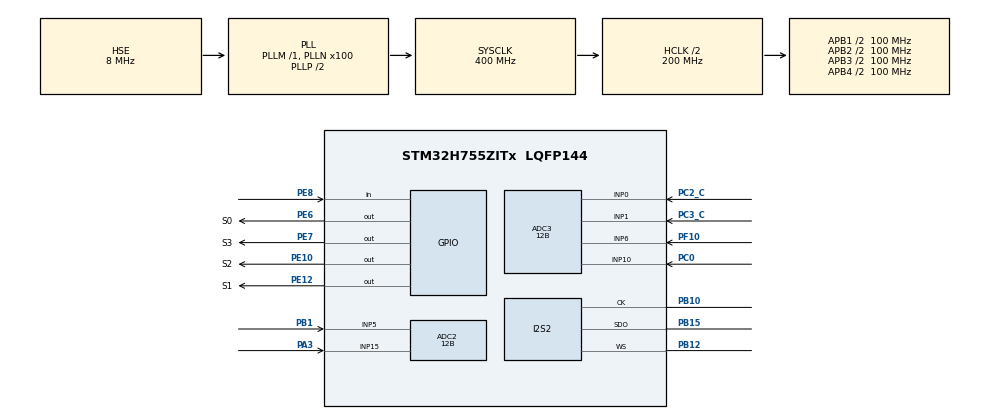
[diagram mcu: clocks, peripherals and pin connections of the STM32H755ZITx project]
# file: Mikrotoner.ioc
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ADC2.Channel-2\#ChannelRegularConversion=ADC_CHANNEL_5
ADC2.Channel-3\#ChannelRegularConversion=ADC_CHANNEL_15
ADC2.ConversionDataManagement=ADC_CONVERSIONDATA_DMA_CIRCULAR
ADC2.ExternalTrigConv=ADC_EXTERNALTRIG_T2_TRGO
ADC2.NbrOfConversion=2
ADC2.NbrOfConversionFlag=1
ADC2.OffsetNumber-2\#ChannelRegularConversion=ADC_OFFSET_NONE
ADC2.OffsetNumber-3\#ChannelRegularConversion=ADC_OFFSET_NONE
ADC2.OffsetSignedSaturation-2\#ChannelRegularConversion=DISABLE
ADC2.OffsetSignedSaturation-3\#ChannelRegularConversion=DISABLE
ADC2.OversamplingMode=ENABLE
ADC2.Rank-2\#ChannelRegularConversion=1
ADC2.Rank-3\#ChannelRegularConversion=2
ADC2.Ratio=256
ADC2.Resolution=ADC_RESOLUTION_12B
ADC2.RightBitShift=ADC_RIGHTBITSHIFT_8
ADC2.SamplingTime-2\#ChannelRegularConversion=ADC_SAMPLETIME_64CYCLES_5
ADC2.SamplingTime-3\#ChannelRegularConversion=ADC_SAMPLETIME_64CYCLES_5
ADC3.Channel-0\#ChannelRegularConversion=ADC_CHANNEL_6
ADC3.Channel-1\#ChannelRegularConversion=ADC_CHANNEL_0
ADC3.Channel-2\#ChannelRegularConversion=ADC_CHANNEL_1
ADC3.Channel-3\#ChannelRegularConversion=ADC_CHANNEL_10
ADC3.ContinuousConvMode=DISABLE
ADC3.ConversionDataManagement=ADC_CONVERSIONDATA_DMA_CIRCULAR
ADC3.ExternalTrigConv=ADC_EXTERNALTRIG_T2_TRGO
ADC3.NbrOfConversion=4
ADC3.NbrOfConversionFlag=1
ADC3.OffsetNumber-0\#ChannelRegularConversion=ADC_OFFSET_NONE
ADC3.OffsetNumber-1\#ChannelRegularConversion=ADC_OFFSET_NONE
ADC3.OffsetNumber-2\#ChannelRegularConversion=ADC_OFFSET_NONE
ADC3.OffsetNumber-3\#ChannelRegularConversion=ADC_OFFSET_NONE
ADC3.OffsetSignedSaturation-0\#ChannelRegularConversion=DISABLE
ADC3.OversamplingMode=ENABLE
ADC3.Rank-0\#ChannelRegularConversion=1
ADC3.Rank-1\#ChannelRegularConversion=2
ADC3.Rank-2\#ChannelRegularConversion=3
ADC3.Rank-3\#ChannelRegularConversion=4
ADC3.Ratio=128
ADC3.Resolution=ADC_RESOLUTION_12B
ADC3.RightBitShift=ADC_RIGHTBITSHIFT_7
ADC3.SamplingTime-0\#ChannelRegularConversion=ADC_SAMPLETIME_64CYCLES_5
ADC3.SamplingTime-1\#ChannelRegularConversion=ADC_SAMPLETIME_64CYCLES_5
ADC3.SamplingTime-2\#ChannelRegularConversion=ADC_SAMPLETIME_64CYCLES_5
ADC3.SamplingTime-3\#ChannelRegularConversion=ADC_SAMPLETIME_64CYCLES_5
Bdma.ADC3.0.Direction=DMA_PERIPH_TO_MEMORY
Bdma.ADC3.0.EventEnable=DISABLE
Bdma.ADC3.0.Instance=BDMA_Channel0
Bdma.ADC3.0.MemDataAlignment=DMA_MDATAALIGN_HALFWORD
Bdma.ADC3.0.MemInc=DMA_MINC_ENABLE
Bdma.ADC3.0.Mode=DMA_CIRCULAR
Bdma.ADC3.0.PeriphDataAlignment=DMA_PDATAALIGN_HALFWORD
Bdma.ADC3.0.PeriphInc=DMA_PINC_DISABLE
Bdma.ADC3.0.Polarity=HAL_DMAMUX_REQ_GEN_RISING
Bdma.ADC3.0.Priority=DMA_PRIORITY_LOW
Bdma.ADC3.0.RequestNumber=1
Bdma.ADC3.0.SignalID=NONE
Bdma.ADC3.0.SyncEnable=DISABLE
Bdma.ADC3.0.SyncPolarity=HAL_DMAMUX_SYNC_NO_EVENT
Bdma.ADC3.0.SyncRequestNumber=1
Bdma.ADC3.0.SyncSignalID=NONE
Bdma.Request0=ADC3
Bdma.RequestsNb=1
CORTEX_M7.CPU_DCache=Disabled
CORTEX_M7.CPU_ICache=Enabled
CORTEX_M7.default_mode_Activation=1
CortexM4.IPs=BDMA,CORTEX_M4\:I,DMA,FATFS_M4\:I,FREERTOS_M4\:I,GPIO,IWDG2\:I,MDMA,NVIC2\:I,OPENAMP_M4\:I,PDM2PCM_M4\:I,PWR,RCC,RESMGR_UTILITY,SYS_M4\:I,USB_DEVICE_M4\:I,USB_HOST_M4\:I,VREFBUF,WWDG2\:I
CortexM7.IPs=BDMA\:I,CORTEX_M7\:I,DMA\:I,FATFS_M7\:I,FREERTOS_M7\:I,GPIO\:I,IWDG1\:I,MDMA\:I,NVIC1\:I,OPENAMP_M7\:I,PDM2PCM_M7\:I,PWR\:I,RCC\:I,RESMGR_UTILITY\:I,SYS\:I,USB_DEVICE_M7\:I,USB_HOST_M7\:I,VREFBUF\:I,WWDG1\:I,MEMORYMAP\:I,I2S2\:I,TIM2\:I,ADC2\:I,ADC3\:I
CortexM7.Pins=PE6,PA5,PA7,PE7,PE8,PE10,PE12,PE15,PC7,PA9,PB6
Dma.ADC2.1.Direction=DMA_PERIPH_TO_MEMORY
Dma.ADC2.1.EventEnable=DISABLE
Dma.ADC2.1.FIFOMode=DMA_FIFOMODE_DISABLE
Dma.ADC2.1.Instance=DMA1_Stream2
Dma.ADC2.1.MemDataAlignment=DMA_MDATAALIGN_HALFWORD
Dma.ADC2.1.MemInc=DMA_MINC_ENABLE
Dma.ADC2.1.Mode=DMA_CIRCULAR
Dma.ADC2.1.PeriphDataAlignment=DMA_PDATAALIGN_HALFWORD
Dma.ADC2.1.PeriphInc=DMA_PINC_DISABLE
Dma.ADC2.1.Polarity=HAL_DMAMUX_REQ_GEN_RISING
Dma.ADC2.1.Priority=DMA_PRIORITY_LOW
Dma.ADC2.1.RequestNumber=1
Dma.ADC2.1.SignalID=NONE
Dma.ADC2.1.SyncEnable=DISABLE
Dma.ADC2.1.SyncPolarity=HAL_DMAMUX_SYNC_NO_EVENT
Dma.ADC2.1.SyncRequestNumber=1
Dma.ADC2.1.SyncSignalID=NONE
Dma.Request0=SPI2_TX
Dma.Request1=ADC2
Dma.SPI2_TX.0.Direction=DMA_MEMORY_TO_PERIPH
Dma.SPI2_TX.0.EventEnable=DISABLE
Dma.SPI2_TX.0.FIFOMode=DMA_FIFOMODE_DISABLE
Dma.SPI2_TX.0.Instance=DMA1_Stream0
Dma.SPI2_TX.0.MemDataAlignment=DMA_MDATAALIGN_WORD
Dma.SPI2_TX.0.MemInc=DMA_MINC_ENABLE
Dma.SPI2_TX.0.Mode=DMA_CIRCULAR
Dma.SPI2_TX.0.PeriphDataAlignment=DMA_PDATAALIGN_WORD
Dma.SPI2_TX.0.PeriphInc=DMA_PINC_DISABLE
Dma.SPI2_TX.0.Polarity=HAL_DMAMUX_REQ_GEN_RISING
Dma.SPI2_TX.0.Priority=DMA_PRIORITY_VERY_HIGH
Dma.SPI2_TX.0.RequestNumber=1
Dma.SPI2_TX.0.SignalID=NONE
Dma.SPI2_TX.0.SyncEnable=DISABLE
Dma.SPI2_TX.0.SyncPolarity=HAL_DMAMUX_SYNC_NO_EVENT
Dma.SPI2_TX.0.SyncRequestNumber=1
Dma.SPI2_TX.0.SyncSignalID=NONE
I2S2.AudioFreq=I2S_AUDIOFREQ_48K
I2S2.DataFormat=I2S_DATAFORMAT_32B
I2S2.ErrorAudioFreq=0.0 %
I2S2.Instance=SPI$Index
I2S2.RealAudioFreq=48.0 KHz
Mcu.Family=STM32H7
Mcu.Name=STM32H755ZITx
Mcu.Package=LQFP144
NVIC1.BDMA_Channel0_IRQn=true\:1\:0\:true\:false\:true\:false\:true\:true
NVIC1.DMA1_Stream0_IRQn=true\:0\:0\:false\:false\:true\:false\:true\:true
NVIC1.DMA1_Stream2_IRQn=true\:1\:0\:true\:false\:true\:false\:true\:true
NVIC1.PriorityGroup=NVIC_PRIORITYGROUP_4
NVIC2.PriorityGroup=NVIC_PRIORITYGROUP_4
PA3.PinAttribute=CortexM7
PA3.Signal=ADCx_INP15
PB1.PinAttribute=CortexM7
PB1.Signal=ADCx_INP5
PB10.Mode=Half_Duplex_Master_Tx
PB10.PinAttribute=CortexM7
PB10.Signal=I2S2_CK
PB12.Mode=Half_Duplex_Master_Tx
PB12.PinAttribute=CortexM7
PB12.Signal=I2S2_WS
PB15.Mode=Half_Duplex_Master_Tx
PB15.PinAttribute=CortexM7
PB15.Signal=I2S2_SDO
PC0.PinAttribute=CortexM7
PC0.Signal=ADCx_INP10
PC2_C.Mode=IN0-Single-Ended
PC2_C.PinAttribute=CortexM7
PC2_C.Signal=ADC3_INP0
PC3_C.Mode=IN1-Single-Ended
PC3_C.PinAttribute=CortexM7
PC3_C.Signal=ADC3_INP1
PE10.GPIO_Label=S2
PE10.GPIO_PuPd=GPIO_PULLUP
PE10.PinAttribute=CortexM7
PE10.Signal=GPIO_Output
PE12.GPIO_Label=S1
PE12.GPIO_PuPd=GPIO_PULLUP
PE12.PinAttribute=CortexM7
PE12.Signal=GPIO_Output
PE6.GPIO_Label=S0
PE6.GPIO_PuPd=GPIO_PULLUP
PE6.PinAttribute=CortexM7
PE6.Signal=GPIO_Output
PE7.GPIO_Label=S3
PE7.GPIO_PuPd=GPIO_PULLUP
PE7.PinAttribute=CortexM7
PE7.Signal=GPIO_Output
PE8.GPIO_PuPd=GPIO_PULLUP
PE8.PinAttribute=CortexM7
PE8.Signal=GPIO_Input
PF10.Mode=IN6-Single-Ended
PF10.PinAttribute=CortexM7
PF10.Signal=ADC3_INP6
PH0-OSC_IN\ (PH0).Mode=HSE-External-Clock-Source
PH0-OSC_IN\ (PH0).PinAttribute=Free
PH0-OSC_IN\ (PH0).Signal=RCC_OSC_IN
ProjectManager.HeapSize=M4-0x200,M7-0x200
ProjectManager.StackSize=M4-0x400,M7-0x400
ProjectManager.TargetToolchain=STM32CubeIDE
RCC.ADCFreq_Value=50000000
RCC.APB1Freq_Value=100000000
RCC.APB2Freq_Value=100000000
RCC.APB3Freq_Value=100000000
RCC.APB4Freq_Value=100000000
RCC.CortexFreq_Value=400000000
RCC.D1PPRE=RCC_APB3_DIV2
RCC.D2PPRE1=RCC_APB1_DIV2
RCC.D2PPRE2=RCC_APB2_DIV2
RCC.D3PPRE=RCC_APB4_DIV2
RCC.DIVM1=1
RCC.DIVM2=2
RCC.DIVM3=2
RCC.DIVN1=100
RCC.DIVN2=50
RCC.DIVN3=49
RCC.DIVP2=4
RCC.DIVP3=4
RCC.DIVQ1=16
RCC.HCLKFreq_Value=200000000
RCC.HPRE=RCC_HCLK_DIV2
RCC.HSE_VALUE=8000000
RCC.PLL2FRACN=0
RCC.PLL3FRACN=1246
RCC.PLLFRACN=0
RCC.PLLSourceVirtual=RCC_PLLSOURCE_HSE
RCC.PWR_Regulator_Voltage_Scale=PWR_REGULATOR_VOLTAGE_SCALE1
RCC.SPI123CLockSelection=RCC_SPI123CLKSOURCE_PLL3
RCC.SYSCLKFreq_VALUE=400000000
RCC.SYSCLKSource=RCC_SYSCLKSOURCE_PLLCLK
RCC.USBFreq_Value=50000000
SH.ADCx_INP10.0=ADC3_INP10,IN10-Single-Ended
SH.ADCx_INP15.0=ADC2_INP15,IN15-Single-Ended
SH.ADCx_INP5.0=ADC2_INP5,IN5-Single-Ended
SYS.userName=SYS_M7
TIM2.AutoReloadPreload=TIM_AUTORELOAD_PRELOAD_ENABLE
TIM2.Period=99
TIM2.Prescaler=1999
TIM2.TIM_MasterOutputTrigger=TIM_TRGO_UPDATE
TIM2.TIM_MasterSlaveMode=TIM_MASTERSLAVEMODE_DISABLE
VP_MEMORYMAP_VS_MEMORYMAP.Mode=CurAppReg
VP_SYS_M4_VS_Systick.Mode=SysTick
VP_TIM2_VS_ClockSourceINT.Mode=Internal
board=custom

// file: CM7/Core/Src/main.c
/* USER CODE BEGIN Header */
/**
  ******************************************************************************
  * @file           : main.c
  * @brief          : Main program body
  ******************************************************************************
  * @attention
  *
  * Copyright (c) 2025 STMicroelectronics.
  * All rights reserved.
  *
  * This software is licensed under terms that can be found in the LICENSE file
  * in the root directory of this software component.
  * If no LICENSE file comes with this software, it is provided AS-IS.
  *
  ******************************************************************************
  */
/* USER CODE END Header */
#include "main.h"

/* USER CODE BEGIN Includes */
#include <stdlib.h>
#include "dsp_adsr.h"
#include "dsp_config.h"
#include "dsp_enum.h"
#include "dsp_filter.h"
#include "dsp_lfo.h"
#include "dsp_noise.h"
#include "dsp_osc.h"
#include "dsp_utils.h"
/* USER CODE END Includes */

/* USER CODE BEGIN PD */

/* DUAL_CORE_BOOT_SYNC_SEQUENCE: Define for dual core boot synchronization    */
/*                             demonstration code based on hardware semaphore */
/* This define is present in both CM7/CM4 projects                            */
/* To comment when developping/debugging on a single core                     */
#define DUAL_CORE_BOOT_SYNC_SEQUENCE

#if defined(DUAL_CORE_BOOT_SYNC_SEQUENCE)
#ifndef HSEM_ID_0
#define HSEM_ID_0 (0U) /* HW semaphore 0*/
#endif
#endif /* DUAL_CORE_BOOT_SYNC_SEQUENCE */

/* USER CODE END PD */

ADC_HandleTypeDef hadc2;
ADC_HandleTypeDef hadc3;
DMA_HandleTypeDef hdma_adc2;
DMA_HandleTypeDef hdma_adc3;

I2S_HandleTypeDef hi2s2;
DMA_HandleTypeDef hdma_spi2_tx;

TIM_HandleTypeDef htim2;

/* USER CODE BEGIN PV */
float osc_buf[BUF_SIZE];
float noise_buf[BUF_SIZE];
float f1_buf[BUF_SIZE];

int32_t i2s_buf[BUF_SIZE];

filter_par_t filter_par;
filter_state_t filter_state;

osc_par_t osc_par;
osc_state_t osc_state;

lfo_par_t lfo_par;
lfo_state_t lfo_state;

adsr_par_t adsr_par;
adsr_state_t adsr_state;

noise_par_t noise_par;
noise_state_t noise_state;

float master_vol = 0.0f;
float threshold = 0.95f;
float gain = 0.8f;

__attribute__ ((section (".ADC3buf"), used)) volatile uint16_t adc3_vals[4];
volatile uint16_t adc2_vals[2] = {0};
uint16_t adc_vals[37] = {0};
uint16_t mux_adc_vals[15];
uint8_t mux_sel[4] = {0};
uint8_t mux_inc = 0;
uint8_t switch_vals[16] = {0};

uint8_t sel_osc = 0;
uint8_t sel_lfo = 0;
uint8_t sel_page = 0;
uint8_t sel_pan = 0;
uint8_t last_sel_osc = 0;
uint8_t last_sel_page = 0;
uint8_t last_sel_lfo = 0;
uint8_t last_sel_pan = 0;
uint8_t set_curr_adc_vals_osc[SHARED_PAR_NUM_OSC] = {1};
uint8_t set_curr_adc_vals_lfo[SHARED_PAR_NUM_LFO] = {1};
uint8_t set_curr_adc_vals_page[6] = {1};
uint8_t set_curr_adc_vals_pan[2] = {1};

lp_filter_par_t adc_f_par[37];

uint8_t semitone_mode = 0;
float portamento_time_s = 0.5f;
volatile uint8_t adc2_flag = 0;
volatile uint8_t adc3_flag = 0;

volatile uint8_t i2s_process_half_buf = 0;
volatile uint16_t i2s_underrun = 0;

/* USER CODE END PV */

void SystemClock_Config(void);
void PeriphCommonClock_Config(void);
static void MPU_Config(void);
static void MX_GPIO_Init(void);
static void MX_DMA_Init(void);
static void MX_BDMA_Init(void);
static void MX_I2S2_Init(void);
static void MX_ADC2_Init(void);
static void MX_ADC3_Init(void);
static void MX_TIM2_Init(void);

/* USER CODE BEGIN 0 */

void update_parameters(){
	float adc_f_vals[37];
	for(int i = 0; i < 37; i++){
		adc_f_par[i].x = adc_vals[i];
		apply_lp_filter(&adc_f_par[i]);
		adc_f_vals[i] = adc_f_par[i].y;
	}
	osc_par.lerp_val_osc1 = adc_f_vals[0]/4095.0f *3.0f;
	osc_par.shape_osc1 = adc_f_vals[1]/4095.0f *3.0f + 1.0f;
	float normalized = adc_f_vals[2]/4095.0f *24.0f;
	float rounded = roundf(normalized);
	if(fabsf(normalized - rounded) < 0.2f){
		osc_par.coarse_osc1 = rounded;
	}
	osc_par.fine_osc1 = adc_f_vals[3]/4095.0f *2.0f - 1.0f;
	osc_par.lfo_depth_pitch_osc1 = adc_f_vals[4]/4095.0f *12.0f;
	osc_par.lfo_lerp_depth_osc1 = adc_f_vals[5]/4095.0f *3.0f;

	osc_par.lerp_val_osc2 = adc_f_vals[6]/4095.0f *3.0f;
	osc_par.shape_osc2 = adc_f_vals[7]/4095.0f *3.0f + 1.0f;
	normalized =adc_f_vals[8]/4095.0f *24.0f;
	rounded = roundf(normalized);
	if(fabsf(normalized - rounded) < 0.2f){
		osc_par.coarse_osc2 = rounded;
	}
	osc_par.fine_osc2 = adc_f_vals[9]/4095.0f *2.0f - 1.0f;
	osc_par.lfo_depth_pitch_osc2 = adc_f_vals[10]/4095.0f *12.0f;
	osc_par.lfo_lerp_depth_osc2 = adc_f_vals[11]/4095.0f *3.0f;

	lfo_par.lerp_val_lfo1 = adc_f_vals[12]/4095.0f *4.0f;
	lfo_par.freq_lfo1 = adc_f_vals[13]/4095.0f *19.0f + 1.0f;

	lfo_par.lerp_val_lfo2 = adc_f_vals[14]/4095.0f *4.0f;
	lfo_par.freq_lfo2 = adc_f_vals[15]/4095.0f *19.0f + 1.0f;

	osc_par.mod_depth = adc_f_vals[16]/4095.0f;

	portamento_time_s = adc_f_vals[17]/4095.0f * 0.9f + 0.1f;
	noise_par.vol = (adc_f_vals[22] - 20)/4075.0f;
	normalized = adc_f_vals[21] / 4095.0f;
	filter_par.f_0 = 20.0f * powf(1000.0f, normalized);
	filter_par.q = adc_f_vals[20]/4095.0f *49.0f + 1.0f;
	filter_par.lerp_val_mode = adc_f_vals[19]/4095.0f *3.5F;
	filter_par.lfo_depth_freq = adc_f_vals[18]/4095.0f;

	noise_par.color = adc_f_vals[23]/4095.0f *2.0f - 1.0f;
	noise_par.width = adc_f_vals[28]/4095.0f;
	adsr_par.a = adc_f_vals[27]/4095.0f * 5.0f;
	adsr_par.d = adc_f_vals[26]/4095.0f * 5.0f;
	adsr_par.s = adc_f_vals[25]/4095.0f;
	adsr_par.r = adc_f_vals[24]/4095.0f * 5.0f;

	lfo_par.mod_depth = adc_f_vals[29]/4095.0f;

	master_vol = (adc_f_vals[34] - 20)/4075.0f;
	osc_par.pan_osc1 = (adc_f_vals[33] - 20)/4075.0f;
	osc_par.pan_osc2 = (adc_f_vals[32] - 20)/4075.0f;

	osc_par.vol_osc1 = (adc_f_vals[31] - 20)/4075.0f;
	osc_par.vol_osc2 = (adc_f_vals[30] - 20)/4075.0f;

	//adsr_par.key_pressure = (adc_f_vals[36] - 300.0f)/3590.0f;
	if(adsr_par.key_pressure >= 0.0f){
		adsr_par.key_pressed = 1;
	}
	else{
		adsr_par.key_pressed = 0;
	}
	static uint8_t last_key_pressed = 0;
	static float init_diff = 0.0f;
	static float target_note = 0.0f;

	if(adsr_par.key_pressed){
	    if(semitone_mode){
	        normalized = adc_f_vals[35] / 4095.0f * 24.0f;
	        rounded = roundf(normalized);
	        if(last_key_pressed){
	            if(rounded != target_note) {
	                init_diff = rounded - osc_par.note;
	                target_note = rounded;
	            }
	            float diff = target_note - osc_par.note;
	            if(fabsf(diff) > 0.001f){
	                if(portamento_time_s < 0.01f) portamento_time_s = 0.01f;
	                float portamento_step = (init_diff * (BUF_SIZE / 4.0f)) / (SAMPLE_RATE_SYNTH * portamento_time_s);
	                if(fabsf(diff) < fabsf(portamento_step)){
	                    osc_par.note = target_note;
	                }
	                else{
	                	osc_par.note += portamento_step;
	                }
	            }
	        }
	        else{
	            //osc_par.note = rounded; commented out for testing without the membrane pot
	            target_note = rounded;
	            init_diff = 0.0f;
	        }
	    }
	    else{
	        //osc_par.note = adc_f_vals[35] / 4095.0f * 24.0f; commented out for testing without the membrane pot
	    }
	    last_key_pressed = 1;
	}
	else{
	    last_key_pressed = 0;
	}
}

void HAL_ADC_ConvCpltCallback(ADC_HandleTypeDef* hadc){
	if(hadc->Instance == ADC3){
		adc3_flag = TRUE;
	}
	if(hadc->Instance == ADC2){
		adc2_flag = TRUE;
	}

}

void HAL_I2S_TxHalfCpltCallback(I2S_HandleTypeDef *hi2s) {
	if(i2s_process_half_buf != 0){
		i2s_underrun++;
	}
	i2s_process_half_buf = 1;
}
void HAL_I2S_TxCpltCallback(I2S_HandleTypeDef *hi2s) {
	if(i2s_process_half_buf != 0){
		i2s_underrun++;
	}
	i2s_process_half_buf = 2;
}
/* USER CODE END 0 */

int main(void)
{

/* USER CODE BEGIN Boot_Mode_Sequence_0 */
#if defined(DUAL_CORE_BOOT_SYNC_SEQUENCE)
  int32_t timeout;
#endif /* DUAL_CORE_BOOT_SYNC_SEQUENCE */
/* USER CODE END Boot_Mode_Sequence_0 */

  /* MPU Configuration--------------------------------------------------------*/
  MPU_Config();

  /* Enable the CPU Cache */

  /* Enable I-Cache---------------------------------------------------------*/
  SCB_EnableICache();

/* USER CODE BEGIN Boot_Mode_Sequence_1 */
#if defined(DUAL_CORE_BOOT_SYNC_SEQUENCE)
  /* Wait until CPU2 boots and enters in stop mode or timeout*/
  timeout = 0xFFFF;
  while((__HAL_RCC_GET_FLAG(RCC_FLAG_D2CKRDY) != RESET) && (timeout-- > 0));
  if ( timeout < 0 )
  {
  Error_Handler();
  }
#endif /* DUAL_CORE_BOOT_SYNC_SEQUENCE */
/* USER CODE END Boot_Mode_Sequence_1 */
  /* MCU Configuration--------------------------------------------------------*/

  /* Reset of all peripherals, Initializes the Flash interface and the Systick. */
  HAL_Init();

  /* Configure the system clock */
  SystemClock_Config();

  /* Configure the peripherals common clocks */
  PeriphCommonClock_Config();
/* USER CODE BEGIN Boot_Mode_Sequence_2 */
#if defined(DUAL_CORE_BOOT_SYNC_SEQUENCE)
/* When system initialization is finished, Cortex-M7 will release Cortex-M4 by means of
HSEM notification */
/*HW semaphore Clock enable*/
__HAL_RCC_HSEM_CLK_ENABLE();
/*Take HSEM */
HAL_HSEM_FastTake(HSEM_ID_0);
/*Release HSEM in order to notify the CPU2(CM4)*/
HAL_HSEM_Release(HSEM_ID_0,0);
/* wait until CPU2 wakes up from stop mode */
timeout = 0xFFFF;
while((__HAL_RCC_GET_FLAG(RCC_FLAG_D2CKRDY) == RESET) && (timeout-- > 0));
if ( timeout < 0 )
{
Error_Handler();
}
#endif /* DUAL_CORE_BOOT_SYNC_SEQUENCE */
/* USER CODE END Boot_Mode_Sequence_2 */

  /* Initialize all configured peripherals */
  MX_GPIO_Init();
  MX_DMA_Init();
  MX_BDMA_Init();
  MX_I2S2_Init();
  MX_ADC2_Init();
  MX_ADC3_Init();
  MX_TIM2_Init();
  /* USER CODE BEGIN 2 */
  if (HAL_ADCEx_Calibration_Start(&hadc2, ADC_CALIB_OFFSET_LINEARITY, ADC_SINGLE_ENDED) != HAL_OK) {
      Error_Handler();
  }

  if (HAL_ADCEx_Calibration_Start(&hadc3, ADC_CALIB_OFFSET_LINEARITY, ADC_SINGLE_ENDED) != HAL_OK) {
      Error_Handler();
  }
  fill_wave_block((float*)i2s_buf, BUF_SIZE, &osc_par, &osc_state);
  HAL_I2S_Transmit_DMA(&hi2s2, (uint16_t*)i2s_buf, BUF_SIZE);
  i2s_process_half_buf = 0;
  osc_par.val_lfo1 = &lfo_par.val_lfo1;
  osc_par.val_lfo2 = &lfo_par.val_lfo2;
  filter_par.val_lfo1 = &lfo_par.val_lfo1;
  filter_par.val_lfo2 = &lfo_par.val_lfo2;

  for(int i = 0; i < 36; i++){
	  init_lp_filter_pars(&adc_f_par[i], 500.0f);
  }
  init_lp_filter_pars(&adc_f_par[30], 100.0f);
  init_lp_filter_pars(&adc_f_par[31], 100.0f);
  init_lp_filter_pars(&adc_f_par[34], 100.0f);
  init_lp_filter_pars(&adc_f_par[36], 100.0f);
  init_lp_filter_pars(&adsr_state.value_lp, 200.0f);

  init_adsr_state(&adsr_state);
  init_filter_state(&filter_state);
  set_filter_range(&filter_par, 20000.0f);
  init_lfo_state(&lfo_state);
  init_noise_state(&noise_state);
  init_osc_state(&osc_state);

  HAL_ADC_Start_DMA(&hadc3, (uint32_t*)&adc3_vals, 4);
  HAL_ADC_Start_DMA(&hadc2, (uint32_t*)&adc2_vals, 2);
  mux_inc = 0;
  mux_sel[0] = 0;
  mux_sel[1] = 0;
  mux_sel[2] = 0;
  mux_sel[3] = 0;
  HAL_GPIO_WritePin(GPIOE, GPIO_PIN_6, mux_sel[0]);
  HAL_GPIO_WritePin(GPIOE, GPIO_PIN_12, mux_sel[1]);
  HAL_GPIO_WritePin(GPIOE, GPIO_PIN_10, mux_sel[2]);
  HAL_GPIO_WritePin(GPIOE, GPIO_PIN_7, mux_sel[3]);
  HAL_TIM_Base_Start(&htim2);

  /* USER CODE END 2 */

  /* Infinite loop */
  /* USER CODE BEGIN WHILE */
  while (1)
  {
	switch(i2s_process_half_buf) {
		case 1:
			update_parameters();
			full_lfo_block(&lfo_par, &lfo_state, BUF_SIZE/2);
			adsr_enveloper(&adsr_par, &adsr_state);
			fill_wave_block(osc_buf, BUF_SIZE/2, &osc_par, &osc_state);
			fill_noise_block(osc_buf, noise_buf, BUF_SIZE/2, noise_par, &noise_state);
			state_variable_filter(noise_buf, f1_buf, BUF_SIZE/2, &filter_par, &filter_state);
			for (int i = 0; i < BUF_SIZE/2; i++) {
				float value = 0.0f;
				if(filter_par.enb){
					value = f1_buf[i];
				}
				else{
					value = noise_buf[i];
				}
				//value = value * master_vol * adsr_state.amplitude; commented out for testing without the pressure sensor
				value = value * master_vol;
				value = soft_clip(value, threshold, gain);
				value *= 2147483648.0f;
				if (value > 2147483647.0f) value = 2147483647.0f;
				if (value < -2147483648.0f) value = -2147483648.0f;
				i2s_buf[i] = (int32_t)value;
			}
			i2s_process_half_buf = 0;
			break;
		case 2:
			update_parameters();
			full_lfo_block(&lfo_par, &lfo_state, BUF_SIZE/2);
			adsr_enveloper(&adsr_par, &adsr_state);
			fill_wave_block(osc_buf + BUF_SIZE/2, BUF_SIZE/2, &osc_par, &osc_state);
			fill_noise_block(osc_buf + BUF_SIZE/2, noise_buf + BUF_SIZE/2, BUF_SIZE/2, noise_par, &noise_state);
			state_variable_filter(noise_buf + BUF_SIZE/2, f1_buf + BUF_SIZE/2, BUF_SIZE/2, &filter_par, &filter_state);
			for (int i = BUF_SIZE/2; i < BUF_SIZE; i++) {
				float value = 0.0f;
				if(filter_par.enb){
					value = f1_buf[i];
				}
				else{
					value = noise_buf[i];
				}
				//value = value * master_vol * adsr_state.amplitude; commented out for testing without the pressure sensor
				value = value * master_vol;
				value = soft_clip(value, threshold, gain);
				value *= 2147483648.0f;
				if (value > 2147483647.0f) value = 2147483647.0f;
				if (value < -2147483648.0f) value = -2147483648.0f;
				i2s_buf[i] = (int32_t)value;
			}
			i2s_process_half_buf = 0;
			break;
		default:
			if(adc3_flag == TRUE){
				adc_vals[34] = adc3_vals[1];
				static int first_iter1 = 1;
				static int first_iter2 = 1;
				mux_adc_vals[mux_inc] = adc3_vals[0];
				switch_vals[mux_inc] = HAL_GPIO_ReadPin(GPIOE, GPIO_PIN_8);
				if(mux_inc < 15){
					mux_inc++;
				}
				else{
					sel_osc                    = switch_vals[0];
					osc_par.phase_sync         = switch_vals[1];
					osc_par.modul_enb          = switch_vals[2];
					osc_par.modul_mod          = switch_vals[3];
					osc_par.pitch_lfo_sel_osc1 = switch_vals[4];
					osc_par.lerp_lfo_sel_osc1  = switch_vals[5];
					osc_par.pitch_lfo_sel_osc2 = switch_vals[6];
					osc_par.lerp_lfo_sel_osc2  = switch_vals[7];
					filter_par.enb             = switch_vals[8];
					filter_par.freq_lfo_sel    = switch_vals[9];
					sel_lfo                    = switch_vals[10];
					lfo_par.lfo2_slave_mode    = switch_vals[11];
					lfo_par.modul_mode         = switch_vals[12];
					sel_page	               = switch_vals[13];
					semitone_mode              = switch_vals[14];
					adsr_state.mode            = switch_vals[15];
					if(first_iter2){
						last_sel_osc = sel_osc;
						last_sel_lfo = sel_lfo;
						last_sel_page = sel_page;
						for(int i = 0; i < 6; i++){
							set_curr_adc_vals_osc[i] = 1;
						}
						for(int i = 0; i < 2; i++){
							set_curr_adc_vals_lfo[i] = 1;
						}
						for(int i = 0; i < 5; i++){
							set_curr_adc_vals_page[i] = 1;
						}
						first_iter2 = 0;
					}
					if(last_sel_osc != sel_osc){
						for(int i = 0; i < 6; i++){
							set_curr_adc_vals_osc[i] = 0;
						}
					}
					for(int i = 0; i < 6; i++){
						if(abs((int)adc_vals[i+sel_osc*6] - (int)mux_adc_vals[i]) <= SOFT_TAKEOVER_THRESHOLD || set_curr_adc_vals_osc[i]){
							adc_vals[i+sel_osc*6] = mux_adc_vals[i];
							set_curr_adc_vals_osc[i] = 1;
						}
					}
					last_sel_osc = sel_osc;

					if(last_sel_lfo != sel_lfo){
						for(int i = 0; i < 2; i++){
							set_curr_adc_vals_lfo[i] = 0;
						}
					}
					for(int i = 0; i < 2; i++){
						if(abs((int)adc_vals[i+sel_lfo*2+12] - (int)mux_adc_vals[i+6]) <= SOFT_TAKEOVER_THRESHOLD || set_curr_adc_vals_lfo[i]){
							adc_vals[i+sel_lfo*2+12] = mux_adc_vals[i+6];
							set_curr_adc_vals_lfo[i] = 1;
						}
					}
					last_sel_lfo = sel_lfo;

					adc_vals[16] = mux_adc_vals[8];

					if(last_sel_page != sel_page){
						for(int i = 0; i < 6; i++){
							set_curr_adc_vals_page[i] = 0;
						}
					}
					for(int i = 0; i < 6; i++){
						if(abs((int)adc_vals[i+sel_page*6+17] - (int)mux_adc_vals[i+9]) <= SOFT_TAKEOVER_THRESHOLD || set_curr_adc_vals_page[i]){
							adc_vals[i+sel_page*6+17] = mux_adc_vals[i+9];
							set_curr_adc_vals_page[i] = 1;
						}
					}
					last_sel_page = sel_page;
					mux_inc = 0;

					adc_vals[29] = mux_adc_vals[15];
				}
				if(first_iter1){
					last_sel_pan = sel_page;
					set_curr_adc_vals_pan[0] = 1;
					set_curr_adc_vals_pan[1] = 1;
					first_iter1 = 0;
				}
				if(last_sel_pan != sel_page){
					set_curr_adc_vals_pan[0] = 0;
					set_curr_adc_vals_pan[1] = 0;
				}
				for(int i = 0; i < 2; i++){
					if(abs((int)adc_vals[i+sel_page*2+30] - (int)adc3_vals[i+2]) <= SOFT_TAKEOVER_THRESHOLD || set_curr_adc_vals_pan[i]){
						adc_vals[i+sel_page*2+30] = adc3_vals[i+2];
						set_curr_adc_vals_pan[i] = 1;
					}
				}
				last_sel_pan = sel_page;
				mux_sel[0] = mux_inc & 1;
				mux_sel[1] = (mux_inc>>1) & 1;
				mux_sel[2] = (mux_inc>>2) & 1;
				mux_sel[3] = (mux_inc>>3) & 1;
				HAL_GPIO_WritePin(GPIOE, GPIO_PIN_6, mux_sel[0]);
				HAL_GPIO_WritePin(GPIOE, GPIO_PIN_12, mux_sel[1]);
				HAL_GPIO_WritePin(GPIOE, GPIO_PIN_10, mux_sel[2]);
				HAL_GPIO_WritePin(GPIOE, GPIO_PIN_7, mux_sel[3]);
				adc3_flag = FALSE;
			}
			if(adc2_flag == TRUE){
				adc_vals[36] = adc2_vals[1];
				if(adc_vals[36] > 300)
					adc_vals[35] = adc2_vals[0];
				adc2_flag = FALSE;
			}
			break;
	}

    /* USER CODE END WHILE */

  }
}

void SystemClock_Config(void)
{
  RCC_OscInitTypeDef RCC_OscInitStruct = {0};
  RCC_ClkInitTypeDef RCC_ClkInitStruct = {0};

  /** Supply configuration update enable
  */
  HAL_PWREx_ConfigSupply(PWR_DIRECT_SMPS_SUPPLY);

  /** Configure the main internal regulator output voltage
  */
  __HAL_PWR_VOLTAGESCALING_CONFIG(PWR_REGULATOR_VOLTAGE_SCALE1);

  while(!__HAL_PWR_GET_FLAG(PWR_FLAG_VOSRDY)) {}

  /** Initializes the RCC Oscillators according to the specified parameters
  * in the RCC_OscInitTypeDef structure.
  */
  RCC_OscInitStruct.OscillatorType = RCC_OSCILLATORTYPE_HSE;
  RCC_OscInitStruct.HSEState = RCC_HSE_BYPASS;
  RCC_OscInitStruct.PLL.PLLState = RCC_PLL_ON;
  RCC_OscInitStruct.PLL.PLLSource = RCC_PLLSOURCE_HSE;
  RCC_OscInitStruct.PLL.PLLM = 1;
  RCC_OscInitStruct.PLL.PLLN = 100;
  RCC_OscInitStruct.PLL.PLLP = 2;
  RCC_OscInitStruct.PLL.PLLQ = 16;
  RCC_OscInitStruct.PLL.PLLR = 2;
  RCC_OscInitStruct.PLL.PLLRGE = RCC_PLL1VCIRANGE_3;
  RCC_OscInitStruct.PLL.PLLVCOSEL = RCC_PLL1VCOWIDE;
  RCC_OscInitStruct.PLL.PLLFRACN = 0;
  if (HAL_RCC_OscConfig(&RCC_OscInitStruct) != HAL_OK)
  {
    Error_Handler();
  }

  /** Initializes the CPU, AHB and APB buses clocks
  */
  RCC_ClkInitStruct.ClockType = RCC_CLOCKTYPE_HCLK|RCC_CLOCKTYPE_SYSCLK
                              |RCC_CLOCKTYPE_PCLK1|RCC_CLOCKTYPE_PCLK2
                              |RCC_CLOCKTYPE_D3PCLK1|RCC_CLOCKTYPE_D1PCLK1;
  RCC_ClkInitStruct.SYSCLKSource = RCC_SYSCLKSOURCE_PLLCLK;
  RCC_ClkInitStruct.SYSCLKDivider = RCC_SYSCLK_DIV1;
  RCC_ClkInitStruct.AHBCLKDivider = RCC_HCLK_DIV2;
  RCC_ClkInitStruct.APB3CLKDivider = RCC_APB3_DIV2;
  RCC_ClkInitStruct.APB1CLKDivider = RCC_APB1_DIV2;
  RCC_ClkInitStruct.APB2CLKDivider = RCC_APB2_DIV2;
  RCC_ClkInitStruct.APB4CLKDivider = RCC_APB4_DIV2;

  if (HAL_RCC_ClockConfig(&RCC_ClkInitStruct, FLASH_LATENCY_2) != HAL_OK)
  {
    Error_Handler();
  }
}

void PeriphCommonClock_Config(void)
{
  RCC_PeriphCLKInitTypeDef PeriphClkInitStruct = {0};

  /** Initializes the peripherals clock
  */
  PeriphClkInitStruct.PeriphClockSelection = RCC_PERIPHCLK_ADC;
  PeriphClkInitStruct.PLL2.PLL2M = 2;
  PeriphClkInitStruct.PLL2.PLL2N = 50;
  PeriphClkInitStruct.PLL2.PLL2P = 4;
  PeriphClkInitStruct.PLL2.PLL2Q = 2;
  PeriphClkInitStruct.PLL2.PLL2R = 2;
  PeriphClkInitStruct.PLL2.PLL2RGE = RCC_PLL2VCIRANGE_2;
  PeriphClkInitStruct.PLL2.PLL2VCOSEL = RCC_PLL2VCOWIDE;
  PeriphClkInitStruct.PLL2.PLL2FRACN = 0;
  PeriphClkInitStruct.AdcClockSelection = RCC_ADCCLKSOURCE_PLL2;
  if (HAL_RCCEx_PeriphCLKConfig(&PeriphClkInitStruct) != HAL_OK)
  {
    Error_Handler();
  }
}

static void MX_ADC2_Init(void)
{

  ADC_ChannelConfTypeDef sConfig = {0};

  /** Common config
  */
  hadc2.Instance = ADC2;
  hadc2.Init.ClockPrescaler = ADC_CLOCK_ASYNC_DIV1;
  hadc2.Init.Resolution = ADC_RESOLUTION_12B;
  hadc2.Init.ScanConvMode = ADC_SCAN_ENABLE;
  hadc2.Init.EOCSelection = ADC_EOC_SINGLE_CONV;
  hadc2.Init.LowPowerAutoWait = DISABLE;
  hadc2.Init.ContinuousConvMode = DISABLE;
  hadc2.Init.NbrOfConversion = 2;
  hadc2.Init.DiscontinuousConvMode = DISABLE;
  hadc2.Init.ExternalTrigConv = ADC_EXTERNALTRIG_T2_TRGO;
  hadc2.Init.ExternalTrigConvEdge = ADC_EXTERNALTRIGCONVEDGE_RISING;
  hadc2.Init.ConversionDataManagement = ADC_CONVERSIONDATA_DMA_CIRCULAR;
  hadc2.Init.Overrun = ADC_OVR_DATA_PRESERVED;
  hadc2.Init.LeftBitShift = ADC_LEFTBITSHIFT_NONE;
  hadc2.Init.OversamplingMode = ENABLE;
  hadc2.Init.Oversampling.Ratio = 256;
  hadc2.Init.Oversampling.RightBitShift = ADC_RIGHTBITSHIFT_8;
  hadc2.Init.Oversampling.TriggeredMode = ADC_TRIGGEREDMODE_SINGLE_TRIGGER;
  hadc2.Init.Oversampling.OversamplingStopReset = ADC_REGOVERSAMPLING_CONTINUED_MODE;
  if (HAL_ADC_Init(&hadc2) != HAL_OK)
  {
    Error_Handler();
  }

  /** Configure Regular Channel
  */
  sConfig.Channel = ADC_CHANNEL_5;
  sConfig.Rank = ADC_REGULAR_RANK_1;
  sConfig.SamplingTime = ADC_SAMPLETIME_64CYCLES_5;
  sConfig.SingleDiff = ADC_SINGLE_ENDED;
  sConfig.OffsetNumber = ADC_OFFSET_NONE;
  sConfig.Offset = 0;
  sConfig.OffsetSignedSaturation = DISABLE;
  if (HAL_ADC_ConfigChannel(&hadc2, &sConfig) != HAL_OK)
  {
    Error_Handler();
  }

  /** Configure Regular Channel
  */
  sConfig.Channel = ADC_CHANNEL_15;
  sConfig.Rank = ADC_REGULAR_RANK_2;
  if (HAL_ADC_ConfigChannel(&hadc2, &sConfig) != HAL_OK)
  {
    Error_Handler();
  }

}

static void MX_ADC3_Init(void)
{

  ADC_ChannelConfTypeDef sConfig = {0};

  /** Common config
  */
  hadc3.Instance = ADC3;
  hadc3.Init.ClockPrescaler = ADC_CLOCK_ASYNC_DIV1;
  hadc3.Init.Resolution = ADC_RESOLUTION_12B;
  hadc3.Init.ScanConvMode = ADC_SCAN_ENABLE;
  hadc3.Init.EOCSelection = ADC_EOC_SINGLE_CONV;
  hadc3.Init.LowPowerAutoWait = DISABLE;
  hadc3.Init.ContinuousConvMode = DISABLE;
  hadc3.Init.NbrOfConversion = 4;
  hadc3.Init.DiscontinuousConvMode = DISABLE;
  hadc3.Init.ExternalTrigConv = ADC_EXTERNALTRIG_T2_TRGO;
  hadc3.Init.ExternalTrigConvEdge = ADC_EXTERNALTRIGCONVEDGE_RISING;
  hadc3.Init.ConversionDataManagement = ADC_CONVERSIONDATA_DMA_CIRCULAR;
  hadc3.Init.Overrun = ADC_OVR_DATA_PRESERVED;
  hadc3.Init.LeftBitShift = ADC_LEFTBITSHIFT_NONE;
  hadc3.Init.OversamplingMode = ENABLE;
  hadc3.Init.Oversampling.Ratio = 128;
  hadc3.Init.Oversampling.RightBitShift = ADC_RIGHTBITSHIFT_7;
  hadc3.Init.Oversampling.TriggeredMode = ADC_TRIGGEREDMODE_SINGLE_TRIGGER;
  hadc3.Init.Oversampling.OversamplingStopReset = ADC_REGOVERSAMPLING_CONTINUED_MODE;
  if (HAL_ADC_Init(&hadc3) != HAL_OK)
  {
    Error_Handler();
  }

  /** Configure Regular Channel
  */
  sConfig.Channel = ADC_CHANNEL_6;
  sConfig.Rank = ADC_REGULAR_RANK_1;
  sConfig.SamplingTime = ADC_SAMPLETIME_64CYCLES_5;
  sConfig.SingleDiff = ADC_SINGLE_ENDED;
  sConfig.OffsetNumber = ADC_OFFSET_NONE;
  sConfig.Offset = 0;
  sConfig.OffsetSignedSaturation = DISABLE;
  if (HAL_ADC_ConfigChannel(&hadc3, &sConfig) != HAL_OK)
  {
    Error_Handler();
  }

  /** Configure Regular Channel
  */
  sConfig.Channel = ADC_CHANNEL_0;
  sConfig.Rank = ADC_REGULAR_RANK_2;
  if (HAL_ADC_ConfigChannel(&hadc3, &sConfig) != HAL_OK)
  {
    Error_Handler();
  }

  /** Configure Regular Channel
  */
  sConfig.Channel = ADC_CHANNEL_1;
  sConfig.Rank = ADC_REGULAR_RANK_3;
  if (HAL_ADC_ConfigChannel(&hadc3, &sConfig) != HAL_OK)
  {
    Error_Handler();
  }

  /** Configure Regular Channel
  */
  sConfig.Channel = ADC_CHANNEL_10;
  sConfig.Rank = ADC_REGULAR_RANK_4;
  if (HAL_ADC_ConfigChannel(&hadc3, &sConfig) != HAL_OK)
  {
    Error_Handler();
  }

}

static void MX_I2S2_Init(void)
{

  hi2s2.Instance = SPI2;
  hi2s2.Init.Mode = I2S_MODE_MASTER_TX;
  hi2s2.Init.Standard = I2S_STANDARD_PHILIPS;
  hi2s2.Init.DataFormat = I2S_DATAFORMAT_32B;
  hi2s2.Init.MCLKOutput = I2S_MCLKOUTPUT_DISABLE;
  hi2s2.Init.AudioFreq = I2S_AUDIOFREQ_48K;
  hi2s2.Init.CPOL = I2S_CPOL_LOW;
  hi2s2.Init.FirstBit = I2S_FIRSTBIT_MSB;
  hi2s2.Init.WSInversion = I2S_WS_INVERSION_DISABLE;
  hi2s2.Init.Data24BitAlignment = I2S_DATA_24BIT_ALIGNMENT_RIGHT;
  hi2s2.Init.MasterKeepIOState = I2S_MASTER_KEEP_IO_STATE_DISABLE;
  if (HAL_I2S_Init(&hi2s2) != HAL_OK)
  {
    Error_Handler();
  }

}

static void MX_TIM2_Init(void)
{

  TIM_ClockConfigTypeDef sClockSourceConfig = {0};
  TIM_MasterConfigTypeDef sMasterConfig = {0};

  htim2.Instance = TIM2;
  htim2.Init.Prescaler = 1999;
  htim2.Init.CounterMode = TIM_COUNTERMODE_UP;
  htim2.Init.Period = 99;
  htim2.Init.ClockDivision = TIM_CLOCKDIVISION_DIV1;
  htim2.Init.AutoReloadPreload = TIM_AUTORELOAD_PRELOAD_ENABLE;
  if (HAL_TIM_Base_Init(&htim2) != HAL_OK)
  {
    Error_Handler();
  }
  sClockSourceConfig.ClockSource = TIM_CLOCKSOURCE_INTERNAL;
  if (HAL_TIM_ConfigClockSource(&htim2, &sClockSourceConfig) != HAL_OK)
  {
    Error_Handler();
  }
  sMasterConfig.MasterOutputTrigger = TIM_TRGO_UPDATE;
  sMasterConfig.MasterSlaveMode = TIM_MASTERSLAVEMODE_DISABLE;
  if (HAL_TIMEx_MasterConfigSynchronization(&htim2, &sMasterConfig) != HAL_OK)
  {
    Error_Handler();
  }

}

static void MX_BDMA_Init(void)
{

  /* DMA controller clock enable */
  __HAL_RCC_BDMA_CLK_ENABLE();

  /* DMA interrupt init */
  /* BDMA_Channel0_IRQn interrupt configuration */
  HAL_NVIC_SetPriority(BDMA_Channel0_IRQn, 1, 0);
  HAL_NVIC_EnableIRQ(BDMA_Channel0_IRQn);

}

static void MX_DMA_Init(void)
{

  /* DMA controller clock enable */
  __HAL_RCC_DMA1_CLK_ENABLE();

  /* DMA interrupt init */
  /* DMA1_Stream0_IRQn interrupt configuration */
  HAL_NVIC_SetPriority(DMA1_Stream0_IRQn, 0, 0);
  HAL_NVIC_EnableIRQ(DMA1_Stream0_IRQn);
  /* DMA1_Stream2_IRQn interrupt configuration */
  HAL_NVIC_SetPriority(DMA1_Stream2_IRQn, 1, 0);
  HAL_NVIC_EnableIRQ(DMA1_Stream2_IRQn);

}

static void MX_GPIO_Init(void)
{
  GPIO_InitTypeDef GPIO_InitStruct = {0};

  /* GPIO Ports Clock Enable */
  __HAL_RCC_GPIOE_CLK_ENABLE();
  __HAL_RCC_GPIOF_CLK_ENABLE();
  __HAL_RCC_GPIOC_CLK_ENABLE();
  __HAL_RCC_GPIOA_CLK_ENABLE();
  __HAL_RCC_GPIOB_CLK_ENABLE();

  /*Configure GPIO pin Output Level */
  HAL_GPIO_WritePin(GPIOE, S0_Pin|S3_Pin|S2_Pin|S1_Pin, GPIO_PIN_RESET);

  /*Configure GPIO pins : S0_Pin S3_Pin S2_Pin S1_Pin */
  GPIO_InitStruct.Pin = S0_Pin|S3_Pin|S2_Pin|S1_Pin;
  GPIO_InitStruct.Mode = GPIO_MODE_OUTPUT_PP;
  GPIO_InitStruct.Pull = GPIO_PULLUP;
  GPIO_InitStruct.Speed = GPIO_SPEED_FREQ_LOW;
  HAL_GPIO_Init(GPIOE, &GPIO_InitStruct);

  /*Configure GPIO pin : PE8 */
  GPIO_InitStruct.Pin = GPIO_PIN_8;
  GPIO_InitStruct.Mode = GPIO_MODE_INPUT;
  GPIO_InitStruct.Pull = GPIO_PULLUP;
  HAL_GPIO_Init(GPIOE, &GPIO_InitStruct);

}

 /* MPU Configuration */

void MPU_Config(void)
{
  MPU_Region_InitTypeDef MPU_InitStruct = {0};

  /* Disables the MPU */
  HAL_MPU_Disable();

  /** Initializes and configures the Region and the memory to be protected
  */
  MPU_InitStruct.Enable = MPU_REGION_ENABLE;
  MPU_InitStruct.Number = MPU_REGION_NUMBER0;
  MPU_InitStruct.BaseAddress = 0x0;
  MPU_InitStruct.Size = MPU_REGION_SIZE_4GB;
  MPU_InitStruct.SubRegionDisable = 0x87;
  MPU_InitStruct.TypeExtField = MPU_TEX_LEVEL0;
  MPU_InitStruct.AccessPermission = MPU_REGION_NO_ACCESS;
  MPU_InitStruct.DisableExec = MPU_INSTRUCTION_ACCESS_DISABLE;
  MPU_InitStruct.IsShareable = MPU_ACCESS_SHAREABLE;
  MPU_InitStruct.IsCacheable = MPU_ACCESS_NOT_CACHEABLE;
  MPU_InitStruct.IsBufferable = MPU_ACCESS_NOT_BUFFERABLE;

  HAL_MPU_ConfigRegion(&MPU_InitStruct);
  /* Enables the MPU */
  HAL_MPU_Enable(MPU_PRIVILEGED_DEFAULT);

}

void Error_Handler(void)
{
  __disable_irq();
  while (1)
  {
  }
}
